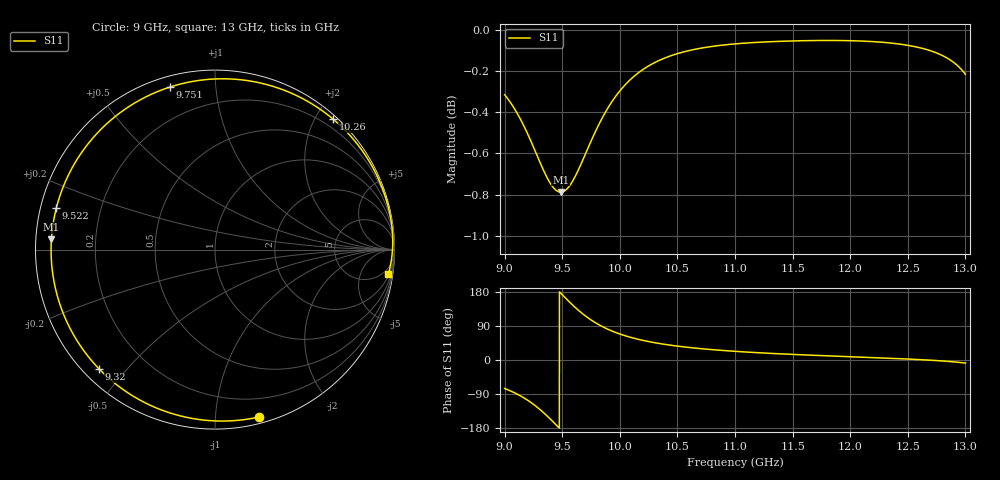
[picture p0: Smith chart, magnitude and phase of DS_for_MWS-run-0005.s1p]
! TOUCHSTONE file generated by CST DESIGN STUDIO
! Date and time: Tue Feb  4 13:46:35 2025
! Project name: C:\Work\MatlabApps\UnitCellOptimizationMatlab\CST\unitcell.cst
! Tree item: Tasks\Sweep1\SPara1\S-Parameters
! Header version: 2024
! Port assignment regex: !\s*Touchstone port\s*([0-9]+)\s*=\s*(CST MWS port|CST DES external port|CST DES block port)\s*(.+)\s* \(\"(.*)\"\)(\s*mode\s*([0-9]+))?.*
! Touchstone port assignment:
! Touchstone port 1 = CST DES external port 1 ("")
# GHz S MA R 50
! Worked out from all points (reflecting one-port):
!   4001 points, 9 GHz to 13 GHz, reference 50 ohm
!   lowest |S11| = -0.8 dB at 9.487 GHz (marker M1), VSWR 22.06, Z = 2.27 + j1.59 ohm
!   phase of S11 starts at -75 deg and turns -293 deg over the sweep
!   S11 on the Smith chart (normalised r, x): 9 GHz: 0.05, -1.30; 9.32 GHz: 0.04, -0.42; 9.522 GHz: 0.05, +0.13; 9.751 GHz: 0.05, +0.76; 10.26 GHz: 0.06, +2.25; 13 GHz: 2, -14
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9  0.9644 -75.2
9.083  0.9572 -86.1
9.184  0.9456 -103.1
9.255  0.936 -118.0
9.32  0.9268 -134.1
9.364  0.9212 -146.2
9.41  0.9166 -159.8
9.449  0.9141 -171.8
9.487  0.9133 176.3
9.5  0.9134 172.3
9.522  0.914 165.4
9.575  0.9174 149.5
9.637  0.9243 132.1
9.692  0.9317 118.4
9.751  0.9398 105.6
9.856  0.953 87.0
9.926  0.9602 77.2
10  0.9665 68.6
10.122  0.9743 57.4
10.263  0.9806 47.9
10.5  0.9869 36.6
10.722  0.9901 29.4
11  0.9923 22.9
11.5  0.9939 14.7
12  0.994 8.6
12.5  0.9915 2.6
12.788  0.9862 -2.2
13  0.9755 -8.2
